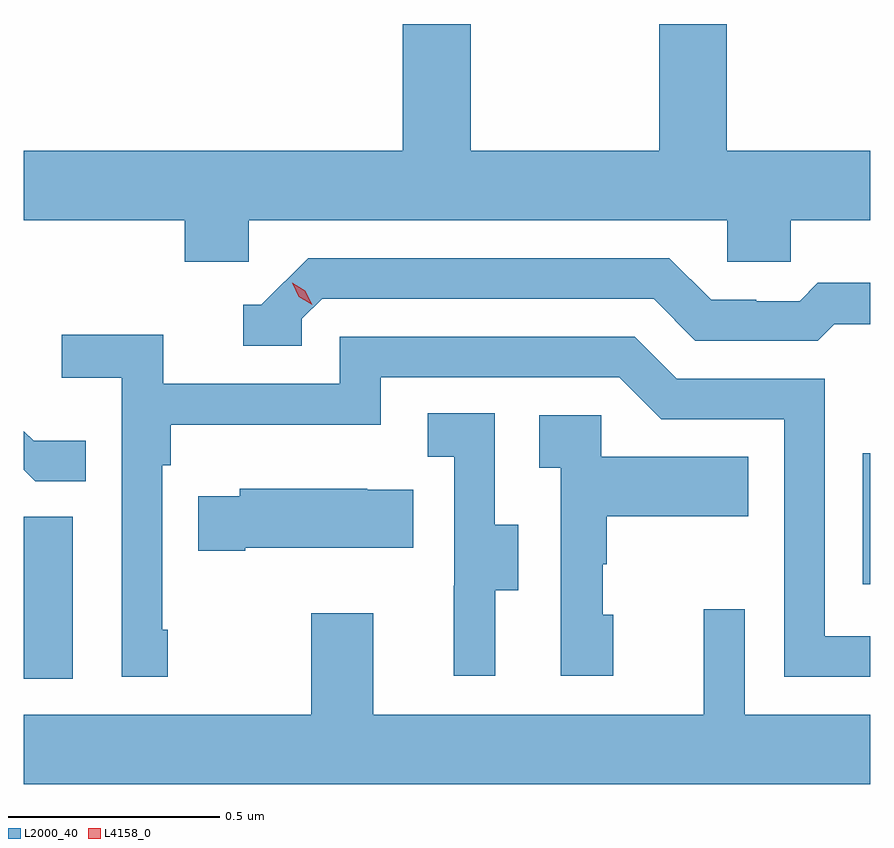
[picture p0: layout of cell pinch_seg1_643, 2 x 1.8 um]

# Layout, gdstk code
import gdstk
lib = gdstk.Library(unit=1e-6, precision=1e-09)
def R(c, l, rs):  # rectangles x0, y0, x1, y1
    for r in rs: c.add(gdstk.rectangle(r[:2], r[2:], *l))
def P(c, l, *ps):  # polygons
    for p in ps: c.add(gdstk.Polygon(p, *l))
L2000_40 = (2000, 40)
L4158_0 = (4158, 0)

pinch_seg1_643 = lib.new_cell('pinch_seg1_643')
R(pinch_seg1_643, L2000_40, [(1121.079,508.025,1121.194,508.407), (1123.062,508.248,1123.079,508.558)])
P(pinch_seg1_643, L2000_40, [(1121.61,509.108),(1122.741,509.108),(1122.741,509.01),(1122.891,509.01),(1122.891,509.108),(1123.079,509.108),(1123.079,509.272),(1122.74,509.272),(1122.74,509.572),(1122.58,509.572),(1122.58,509.272),(1122.135,509.272),(1122.135,509.572),(1121.975,509.572),(1121.975,509.272),(1121.079,509.272),(1121.079,509.108),(1121.459,509.108),(1121.459,509.01),(1121.61,509.01)],
  [(1121.736,508.875),(1121.784,508.923),(1122.567,508.923),(1122.666,508.824),(1122.955,508.824),(1122.994,508.863),(1123.079,508.863),(1123.079,508.96),(1122.955,508.96),(1122.913,508.917),(1122.81,508.917),(1122.81,508.92),(1122.703,508.92),(1122.604,509.019),(1121.751,509.019),(1121.64,508.908),(1121.597,508.908),(1121.597,508.812),(1121.736,508.812)],
  [(1121.419,508.141),(1121.406,508.141),(1121.406,508.529),(1121.426,508.529),(1121.426,508.625),(1121.922,508.625),(1121.922,508.737),(1122.486,508.737),(1122.585,508.638),(1122.876,508.638),(1122.876,508.029),(1123.079,508.029),(1123.079,508.125),(1122.972,508.125),(1122.972,508.734),(1122.622,508.734),(1122.523,508.833),(1121.826,508.833),(1121.826,508.722),(1121.408,508.722),(1121.408,508.838),(1121.169,508.838),(1121.169,508.736),(1121.31,508.736),(1121.31,508.029),(1121.419,508.029)],
  [(1122.193,508.234),(1122.247,508.234),(1122.247,508.389),(1122.192,508.389),(1122.192,508.652),(1122.033,508.652),(1122.033,508.549),(1122.096,508.549),(1122.096,508.245),(1122.095,508.245),(1122.095,508.032),(1122.193,508.032)],
  [(1122.472,508.176),(1122.447,508.176),(1122.447,508.295),(1122.457,508.295),(1122.457,508.409),(1122.791,508.409),(1122.791,508.549),(1122.444,508.549),(1122.444,508.647),(1122.297,508.647),(1122.297,508.523),(1122.348,508.523),(1122.348,508.032),(1122.472,508.032)],
  [(1121.225,508.587),(1121.102,508.587),(1121.079,508.61),(1121.079,508.519),(1121.106,508.492),(1121.225,508.492)],
  [(1121.602,508.334),(1121.999,508.334),(1121.999,508.471),(1121.891,508.471),(1121.891,508.474),(1121.589,508.474),(1121.589,508.456),(1121.491,508.456),(1121.491,508.327),(1121.602,508.327)],
  [(1123.079,507.94),(1122.783,507.94),(1122.783,508.189),(1122.686,508.189),(1122.686,507.94),(1121.905,507.94),(1121.905,508.18),(1121.758,508.18),(1121.758,507.94),(1121.079,507.94),(1121.079,507.776),(1123.079,507.776)])
P(pinch_seg1_643, L4158_0, [(1121.76,508.909),(1121.729,508.928),(1121.713,508.961),(1121.713,508.961),(1121.713,508.961),(1121.744,508.942),(1121.76,508.909),(1121.76,508.909)])

lib.write_gds('pinch_seg1_643.gds')
